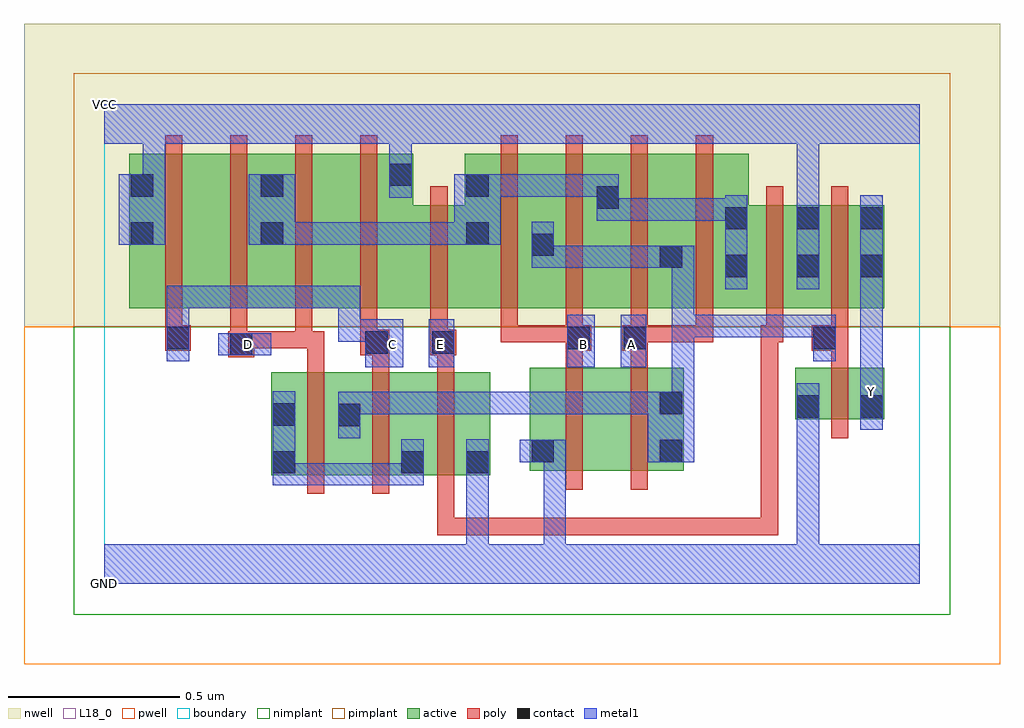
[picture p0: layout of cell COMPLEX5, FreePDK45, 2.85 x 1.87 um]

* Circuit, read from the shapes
.subckt COMPLEX5 A B C D E GND VCC Y
M1 n1 D n2 VSUBS nfet w=0.3u l=0.05u
M2 n2 C n1 VSUBS nfet w=0.3u l=0.05u
M3 GND E n2 VSUBS nfet w=0.3u l=0.05u
M4 n3 B GND VSUBS nfet w=0.3u l=0.05u
M5 n1 A n3 VSUBS nfet w=0.3u l=0.05u
M6 Y n1 GND VSUBS nfet w=0.15u l=0.05u
M7 n4 C VCC n5 pfet w=0.45u l=0.05u
M8 n6 D n4 n5 pfet w=0.45u l=0.05u
M9 n7 D n6 n5 pfet w=0.45u l=0.05u
M10 VCC C n7 n5 pfet w=0.45u l=0.05u
M11 n6 E VCC n5 pfet w=0.3u l=0.05u m=2
M12 n1 B n6 n5 pfet w=0.45u l=0.05u m=2
M13 n1 A n6 n5 pfet w=0.45u l=0.05u m=2
M14 Y n1 VCC n5 pfet w=0.3u l=0.05u
.ends

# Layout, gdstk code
import gdstk
lib = gdstk.Library(unit=1e-6, precision=1e-09)
def R(c, l, rs):  # rectangles x0, y0, x1, y1
    for r in rs: c.add(gdstk.rectangle(r[:2], r[2:], *l))
def A(c, l, x, y, w, h, nx, ny, dx, dy):  # array of equal rectangles
    R(c, l, [(x+i*dx, y+j*dy, x+i*dx+w, y+j*dy+h) for i in range(nx) for j in range(ny)])
active = (1, 0)
pwell = (2, 0)
nwell = (3, 0)
nimplant = (4, 0)
pimplant = (5, 0)
poly = (9, 0)
contact = (10, 0)
metal1 = (11, 0)
L18_0 = (18, 0)
boundary = (235, 0)

complex5 = lib.new_cell('COMPLEX5')
R(complex5, active, [(0.487,0.317,0.562,0.617), (0.487,0.317,0.752,0.617), (0.677,0.317,0.937,0.617), (0.862,0.317,1.127,0.617), (0.862,0.317,0.937,0.547), (1.052,0.317,1.127,0.617), (1.242,0.33,1.467,0.63), (1.467,0.33,1.692,0.63), (1.242,0.332,1.317,0.547), (1.617,0.35,1.692,0.63), (0.677,0.395,0.752,0.53), (2.017,0.48,2.092,0.63), (2.017,0.48,2.277,0.63), (2.202,0.48,2.277,0.63), (0.072,0.805,0.297,1.255), (0.072,0.805,0.147,1.255), (0.297,0.805,0.527,1.255), (0.452,0.805,0.677,1.255), (0.677,0.805,0.902,1.255), (0.827,0.805,1.127,1.105), (1.052,0.805,1.127,1.2), (1.052,0.805,1.317,1.255), (1.242,0.805,1.507,1.255), (1.432,0.805,1.692,1.255), (1.617,0.805,1.882,1.255), (1.617,0.805,1.692,1.07), (1.807,0.805,2.092,1.105), (1.807,0.805,1.882,1.2), (2.017,0.805,2.092,1.105), (2.017,0.805,2.277,1.105), (2.202,0.805,2.277,1.105), (0.452,0.857,0.527,1.2), (1.242,0.857,1.317,1.07), (1.432,0.857,1.507,1.2), (0.827,1.007,0.902,1.255)])
R(complex5, pwell, [(-0.235,-0.235,2.615,0.75)])
R(complex5, nwell, [(-0.235,0.75,2.615,1.635)])
R(complex5, nimplant, [(-0.09,-0.09,2.47,0.75)])
R(complex5, pimplant, [(-0.09,0.75,2.47,1.49)])
A(complex5, poly, 0.592, 0.262, 0.05, 0.41, 3, 1, 0.19, 0)
A(complex5, poly, 1.157, 0.705, 0.05, 0.095, 4, 1, 0.19, 0)
A(complex5, poly, 0.177, 0.75, 0.05, 0.56, 4, 1, 0.19, 0)
A(complex5, poly, 1.157, 0.75, 0.05, 0.56, 4, 1, 0.19, 0)
R(complex5, poly, [(0.972,0.142,1.022,0.192), (0.972,0.142,1.022,0.192), (0.972,0.142,1.022,0.192), (0.972,0.142,1.265,0.192), (0.972,0.142,1.022,0.312), (1.215,0.142,1.265,0.192), (1.215,0.142,1.29,0.192), (1.24,0.142,1.29,0.192), (1.24,0.142,1.422,0.192), (1.372,0.142,1.422,0.192), (1.372,0.142,1.422,0.192), (1.372,0.142,1.422,0.192), (1.372,0.142,1.555,0.192), (1.505,0.142,1.555,0.192), (1.505,0.142,1.555,0.192), (1.505,0.142,1.555,0.192), (1.505,0.142,1.835,0.192), (1.785,0.142,1.835,0.192), (1.785,0.142,1.967,0.192), (1.917,0.142,1.967,0.192), (1.917,0.142,1.967,0.192), (1.917,0.142,1.967,0.192), (1.917,0.142,1.967,0.192), (1.917,0.142,1.967,0.192), (1.917,0.142,1.967,0.192), (1.917,0.142,1.967,0.192), (1.917,0.142,1.967,0.755), (1.347,0.275,1.397,0.685), (1.537,0.275,1.587,0.685), (2.122,0.425,2.172,0.685), (0.592,0.622,0.642,0.737), (0.782,0.622,0.832,0.717), (0.972,0.622,1.022,0.717), (1.347,0.635,1.397,0.73), (1.537,0.635,1.587,0.73), (2.122,0.635,2.172,0.73), (0.362,0.662,0.437,0.737), (0.747,0.667,0.832,0.742), (0.952,0.667,1.027,0.742), (0.177,0.68,0.252,0.755), (1.347,0.68,1.422,0.755), (1.512,0.68,1.587,0.755), (2.065,0.68,2.172,0.755), (0.367,0.687,0.417,0.737), (0.367,0.687,0.417,0.737), (0.367,0.687,0.417,0.737), (0.367,0.687,0.417,0.737), (0.367,0.687,0.417,0.737), (0.367,0.687,0.417,0.737), (0.367,0.687,0.607,0.737), (0.367,0.687,0.417,0.8), (0.557,0.687,0.607,0.8), (0.557,0.687,0.642,0.737), (0.747,0.692,0.797,0.8), (0.952,0.692,1.002,0.8), (0.177,0.705,0.227,0.8), (1.157,0.705,1.207,0.755), (1.157,0.705,1.227,0.755), (1.177,0.705,1.227,0.755), (1.177,0.705,1.397,0.755), (1.537,0.705,1.777,0.755), (1.727,0.705,1.777,0.755), (1.727,0.705,1.777,0.755), (1.727,0.705,1.777,0.755), (1.917,0.705,1.967,0.755), (1.917,0.705,1.967,0.755), (1.917,0.705,1.982,0.755), (1.932,0.705,1.982,0.8), (2.122,0.705,2.172,0.8), (0.952,0.75,1.002,1.16), (1.932,0.75,1.982,1.16), (2.122,0.75,2.172,1.16)])
R(complex5, contact, [(0.492,0.322,0.557,0.387), (0.867,0.322,0.932,0.387), (1.057,0.322,1.122,0.387), (1.247,0.355,1.312,0.42), (1.622,0.355,1.687,0.42), (0.682,0.46,0.747,0.525), (0.492,0.462,0.557,0.527), (2.022,0.485,2.087,0.55), (2.207,0.485,2.272,0.55), (1.622,0.495,1.687,0.56), (0.367,0.667,0.432,0.732), (0.762,0.672,0.827,0.737), (0.957,0.672,1.022,0.737), (0.182,0.685,0.247,0.75), (1.352,0.685,1.417,0.75), (1.517,0.685,1.582,0.75), (2.07,0.685,2.135,0.75), (1.812,0.895,1.877,0.96), (2.022,0.895,2.087,0.96), (2.207,0.895,2.272,0.96), (1.622,0.922,1.687,0.987), (1.247,0.957,1.312,1.022), (0.077,0.99,0.142,1.055), (0.457,0.99,0.522,1.055), (1.057,0.99,1.122,1.055), (1.812,1.035,1.877,1.1), (2.022,1.035,2.087,1.1), (2.207,1.035,2.272,1.1), (1.437,1.095,1.502,1.16), (0.077,1.13,0.142,1.195), (0.457,1.13,0.522,1.195), (1.057,1.13,1.122,1.195), (0.832,1.162,0.897,1.227)])
R(complex5, metal1, [(0,0,2.38,0.115), (1.057,0.05,1.122,0.115), (1.057,0.05,1.122,0.115), (1.057,0.05,1.122,0.352), (1.282,0.05,1.347,0.115), (1.282,0.05,1.347,0.115), (1.282,0.05,1.347,0.335), (2.022,0.05,2.087,0.115), (2.022,0.05,2.087,0.115), (2.022,0.05,2.087,0.515), (1.282,0.27,1.347,0.335), (1.282,0.27,1.347,0.42), (0.492,0.287,0.557,0.562), (0.492,0.287,0.557,0.352), (0.492,0.287,0.557,0.352), (0.492,0.287,0.695,0.352), (0.63,0.287,0.695,0.352), (0.63,0.287,0.695,0.352), (0.63,0.287,0.695,0.352), (0.63,0.287,0.932,0.352), (0.867,0.287,0.932,0.422), (1.057,0.287,1.122,0.352), (1.057,0.287,1.122,0.352), (1.057,0.287,1.122,0.422), (1.212,0.355,1.347,0.42), (1.587,0.355,1.722,0.56), (0.682,0.425,0.747,0.56), (2.022,0.45,2.087,0.515), (2.022,0.45,2.087,0.515), (2.022,0.45,2.087,0.515), (2.022,0.45,2.087,0.515), (2.022,0.45,2.087,0.585), (2.207,0.45,2.272,0.585), (2.207,0.492,2.272,0.627), (0.682,0.495,0.747,0.56), (0.682,0.495,0.747,0.56), (0.682,0.495,0.932,0.56), (0.867,0.495,0.932,0.56), (0.867,0.495,0.932,0.56), (0.867,0.495,0.932,0.56), (0.867,0.495,1.07,0.56), (1.005,0.495,1.07,0.56), (1.005,0.495,1.07,0.56), (1.005,0.495,1.07,0.56), (1.005,0.495,1.365,0.56), (1.3,0.495,1.365,0.56), (1.3,0.495,1.365,0.56), (1.3,0.495,1.365,0.56), (1.3,0.495,1.502,0.56), (1.437,0.495,1.502,0.56), (1.437,0.495,1.502,0.56), (1.437,0.495,1.502,0.56), (1.437,0.495,1.652,0.56), (1.657,0.495,1.722,0.785), (2.207,0.52,2.272,0.585), (2.207,0.562,2.272,0.925), (0.762,0.632,0.872,0.772), (0.947,0.632,1.022,0.772), (1.352,0.632,1.432,0.785), (1.507,0.632,1.582,0.785), (0.182,0.65,0.247,0.785), (2.07,0.65,2.135,0.785), (0.332,0.667,0.487,0.732), (0.682,0.707,0.827,0.772), (0.682,0.707,0.747,0.87), (0.182,0.72,0.247,0.785), (0.182,0.72,0.247,0.87), (1.657,0.72,1.722,0.785), (1.657,0.72,1.722,0.785), (1.657,0.72,1.722,0.785), (1.657,0.72,1.95,0.785), (1.657,0.72,1.722,0.987), (1.885,0.72,1.95,0.785), (1.885,0.72,1.95,0.785), (1.885,0.72,1.95,0.785), (1.885,0.72,2.135,0.785), (2.07,0.72,2.135,0.785), (2.07,0.72,2.135,0.785), (0.182,0.805,0.385,0.87), (0.32,0.805,0.385,0.87), (0.32,0.805,0.522,0.87), (0.457,0.805,0.522,0.87), (0.457,0.805,0.522,0.87), (0.457,0.805,0.522,0.87), (0.457,0.805,0.747,0.87), (1.812,0.86,1.877,1.135), (2.022,0.86,2.087,1.135), (2.207,0.86,2.272,1.135), (1.247,0.922,1.312,0.987), (1.247,0.922,1.312,0.987), (1.247,0.922,1.312,1.057), (1.247,0.922,1.502,0.987), (1.437,0.922,1.502,0.987), (1.437,0.922,1.502,0.987), (1.437,0.922,1.502,0.987), (1.437,0.922,1.652,0.987), (1.587,0.922,1.722,0.987), (0.042,0.99,0.177,1.195), (0.422,0.99,0.557,1.195), (0.492,0.99,0.557,1.055), (0.492,0.99,0.557,1.055), (0.492,0.99,0.695,1.055), (0.63,0.99,0.695,1.055), (0.63,0.99,0.695,1.055), (0.63,0.99,0.695,1.055), (0.63,0.99,0.885,1.055), (0.82,0.99,0.885,1.055), (0.82,0.99,0.885,1.055), (0.82,0.99,0.885,1.055), (0.82,0.99,1.087,1.055), (1.022,0.99,1.157,1.195), (1.437,1.06,1.502,1.125), (1.437,1.06,1.502,1.125), (1.437,1.06,1.502,1.195), (1.437,1.06,1.74,1.125), (1.675,1.06,1.74,1.125), (1.675,1.06,1.74,1.125), (1.675,1.06,1.74,1.125), (1.675,1.06,1.877,1.125), (2.022,1.07,2.087,1.135), (2.022,1.07,2.087,1.135), (2.022,1.07,2.087,1.35), (0.832,1.127,0.897,1.262), (0.112,1.13,0.177,1.35), (1.075,1.13,1.14,1.195), (1.075,1.13,1.14,1.195), (1.075,1.13,1.14,1.195), (1.075,1.13,1.14,1.195), (1.075,1.13,1.295,1.195), (1.23,1.13,1.295,1.195), (1.23,1.13,1.295,1.195), (1.23,1.13,1.295,1.195), (1.23,1.13,1.502,1.195), (0.832,1.197,0.897,1.35), (0,1.285,2.38,1.4)])
R(complex5, L18_0, [(0,0,2.38,0.115), (1.057,0.05,1.122,0.115), (1.057,0.05,1.122,0.115), (1.057,0.05,1.122,0.352), (1.282,0.05,1.347,0.115), (1.282,0.05,1.347,0.115), (1.282,0.05,1.347,0.335), (2.022,0.05,2.087,0.115), (2.022,0.05,2.087,0.115), (2.022,0.05,2.087,0.515), (1.282,0.27,1.347,0.42), (1.282,0.27,1.347,0.335), (1.057,0.287,1.122,0.422), (1.057,0.287,1.122,0.352), (1.057,0.287,1.122,0.352), (1.212,0.355,1.347,0.42), (2.022,0.45,2.087,0.585), (2.022,0.45,2.087,0.515), (2.022,0.45,2.087,0.515), (2.022,0.45,2.087,0.515), (2.022,0.45,2.087,0.515), (2.207,0.45,2.272,0.585), (2.207,0.492,2.272,0.627), (2.207,0.52,2.272,0.585), (2.207,0.527,2.272,0.592), (2.207,0.562,2.272,0.925), (0.762,0.632,0.872,0.772), (0.947,0.632,1.022,0.772), (1.352,0.632,1.432,0.785), (1.507,0.632,1.582,0.785), (0.182,0.65,0.247,0.785), (0.332,0.667,0.487,0.732), (0.387,0.667,0.452,0.732), (0.807,0.667,0.872,0.732), (0.947,0.667,1.012,0.732), (1.367,0.667,1.432,0.732), (1.507,0.667,1.572,0.732), (0.682,0.707,0.747,0.87), (0.682,0.707,0.827,0.772), (0.182,0.72,0.247,0.87), (0.182,0.72,0.247,0.785), (0.182,0.805,0.385,0.87), (0.32,0.805,0.385,0.87), (0.32,0.805,0.522,0.87), (0.457,0.805,0.522,0.87), (0.457,0.805,0.522,0.87), (0.457,0.805,0.522,0.87), (0.457,0.805,0.747,0.87), (2.022,0.86,2.087,1.135), (2.207,0.86,2.272,1.135), (0.042,0.99,0.177,1.195), (2.022,1.07,2.087,1.135), (2.022,1.07,2.087,1.135), (2.022,1.07,2.087,1.35), (0.832,1.127,0.897,1.262), (0.112,1.13,0.177,1.35), (0.832,1.197,0.897,1.35), (0,1.285,2.38,1.4)])
R(complex5, boundary, [(0,0,2.38,1.4)])
complex5.add(gdstk.Label('A', (1.54,0.7), layer=11, texttype=0))
complex5.add(gdstk.Label('B', (1.4,0.7), layer=11, texttype=0))
complex5.add(gdstk.Label('C', (0.84,0.7), layer=11, texttype=0))
complex5.add(gdstk.Label('D', (0.42,0.7), layer=11, texttype=0))
complex5.add(gdstk.Label('E', (0.98,0.7), layer=11, texttype=0))
complex5.add(gdstk.Label('Y', (2.24,0.56), layer=11, texttype=0))
complex5.add(gdstk.Label('VCC', (0,1.4), layer=11, texttype=0))
complex5.add(gdstk.Label('GND', (0,0), layer=11, texttype=0))

lib.write_gds('COMPLEX5.gds')
